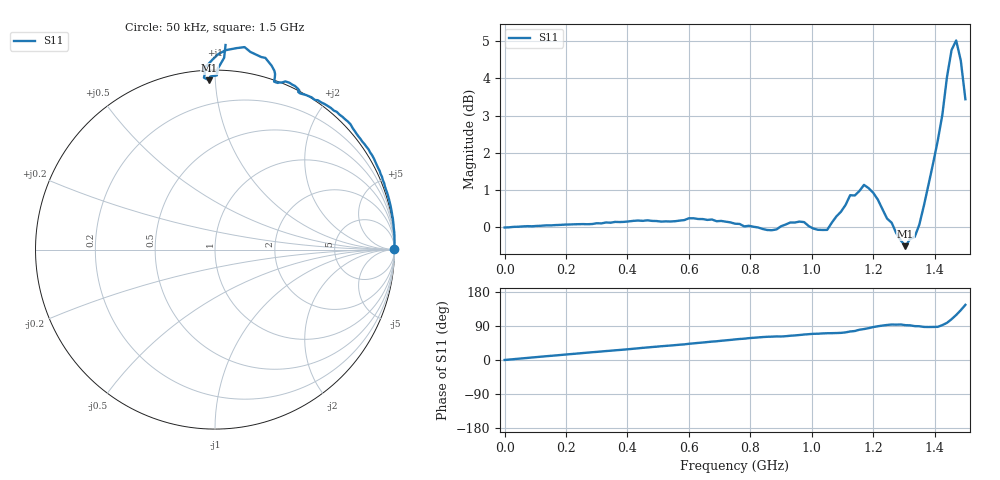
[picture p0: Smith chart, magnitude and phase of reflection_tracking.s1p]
! Created with skrf 1.8.0 (http://scikit-rf.org).
# Hz S RI R 50.0
!freq ReS11 ImS11
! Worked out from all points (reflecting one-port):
!   101 points, 50 kHz to 1.5 GHz, reference 50 ohm
!   lowest |S11| = -0.5 dB at 1.305 GHz (marker M1), VSWR 34.22, Z = 2.83 + j48.3 ohm
!   phase of S11 starts at 0 deg and turns +145 deg over the sweep
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50000  0.9992 0.000665
1.950435e8  0.9778 0.2458
3.750375e8  0.9092 0.4541
5.70031e8  0.7786 0.6603
7.50025e8  0.5903 0.8209
8.550215e8  0.4767 0.8695
9.0002e8  0.47 0.8863
9.450185e8  0.4314 0.9186
1.005016e9  0.355 0.9306
1.050015e9  0.3292 0.9357
1.095014e9  0.3311 0.9957
1.125012e9  0.2802 1.068
1.140012e9  0.258 1.073
1.170011e9  0.1648 1.128
1.20001e9  0.0599 1.111
1.245008e9  -0.0434 1.026
1.290007e9  -0.0616 0.9578
1.305006e9  -0.0313 0.9427
1.320006e9  -0.0259 0.9643
1.350005e9  0.0157 1.008
1.365004e9  0.0508 1.069
1.410003e9  0.058 1.306
1.425002e9  -0.0509 1.415
1.440002e9  -0.2224 1.575
1.455002e9  -0.525 1.649
1.470001e9  -0.8571 1.563
1.485e9  -1.108 1.256
1.5e9  -1.225 0.8411
